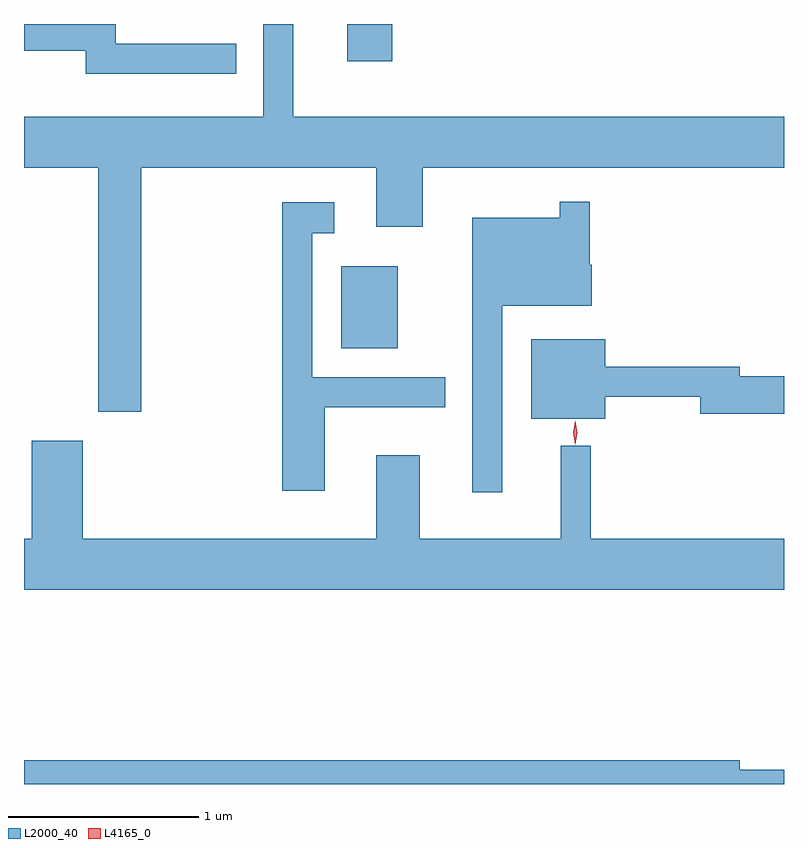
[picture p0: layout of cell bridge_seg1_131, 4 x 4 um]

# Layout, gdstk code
import gdstk
lib = gdstk.Library(unit=1e-6, precision=1e-09)
def R(c, l, rs):  # rectangles x0, y0, x1, y1
    for r in rs: c.add(gdstk.rectangle(r[:2], r[2:], *l))
def P(c, l, *ps):  # polygons
    for p in ps: c.add(gdstk.Polygon(p, *l))
L2000_40 = (2000, 40)
L4165_0 = (4165, 0)

bridge_seg1_131 = lib.new_cell('bridge_seg1_131')
R(bridge_seg1_131, L2000_40, [(1425.866,869.766,1426.164,870.199), (1425.896,871.276,1426.134,871.473)])
P(bridge_seg1_131, L2000_40, [(1424.814,870.716),(1426.051,870.716),(1426.051,870.406),(1426.294,870.406),(1426.294,870.716),(1428.196,870.716),(1428.196,870.984),(1425.614,870.984),(1425.614,871.473),(1425.456,871.473),(1425.456,870.984),(1424.196,870.984),(1424.196,870.716),(1424.586,870.716),(1424.586,869.431),(1424.814,869.431)],
  [(1425.313,871.369),(1424.679,871.369),(1424.679,871.473),(1424.196,871.473),(1424.196,871.331),(1424.521,871.331),(1424.521,871.211),(1425.313,871.211)],
  [(1426.714,869.991),(1427.184,869.991),(1427.184,870.205),(1427.174,870.205),(1427.174,870.538),(1427.016,870.538),(1427.016,870.454),(1426.556,870.454),(1426.556,869.008),(1426.714,869.008)],
  [(1425.779,869.456),(1426.413,869.456),(1426.413,869.614),(1425.714,869.614),(1425.714,870.371),(1425.828,870.371),(1425.828,870.534),(1425.556,870.534),(1425.556,869.016),(1425.779,869.016)],
  [(1427.254,869.511),(1427.756,869.511),(1427.756,869.421),(1428.196,869.421),(1428.196,869.619),(1427.964,869.619),(1427.964,869.669),(1427.254,869.669),(1427.254,869.814),(1426.866,869.814),(1426.866,869.396),(1427.254,869.396)],
  [(1428.196,868.764),(1427.179,868.764),(1427.179,869.253),(1427.021,869.253),(1427.021,868.764),(1426.279,868.764),(1426.279,869.204),(1426.051,869.204),(1426.051,868.764),(1424.504,868.764),(1424.504,869.279),(1424.236,869.279),(1424.236,868.764),(1424.196,868.764),(1424.196,868.496),(1428.196,868.496)],
  [(1428.196,867.549),(1427.964,867.549),(1427.964,867.599),(1424.196,867.599),(1424.196,867.473),(1428.196,867.473)])
P(bridge_seg1_131, L4165_0, [(1427.098,869.258),(1427.098,869.259),(1427.088,869.322),(1427.096,869.385),(1427.097,869.385),(1427.098,869.385),(1427.108,869.322),(1427.098,869.259)])

lib.write_gds('bridge_seg1_131.gds')
